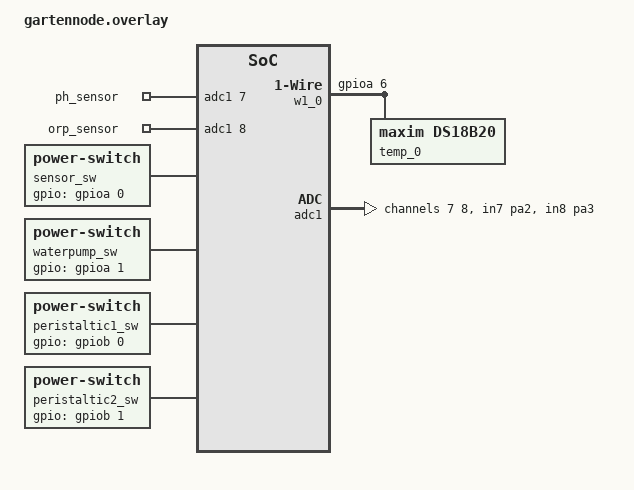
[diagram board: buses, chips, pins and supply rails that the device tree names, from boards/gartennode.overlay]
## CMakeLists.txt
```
cmake_minimum_required(VERSION 3.20.0)

list(APPEND BOARD_ROOT ${CMAKE_CURRENT_SOURCE_DIR})

macro(app_set_runner_args)
  board_runner_args(canopen "--node-id=${CONFIG_CANOPEN_NODE_ID}")
endmacro()

find_package(Zephyr REQUIRED HINTS $ENV{ZEPHYR_BASE})
project(gartennode_Poolmodul)
FILE(GLOB app_sources src/*.c)
target_sources(app PRIVATE ${app_sources} objdict/CO_OD.c)
zephyr_include_directories(objdict src)
```

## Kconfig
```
#
# Copyright (c) 2019 Vestas Wind Systems A/S
#
# SPDX-License-Identifier: Apache-2.0
#

config CANOPEN_NODE_ID
	int "CANopen node ID"
	default 10
	range 1 127
	help
	  7-bit CANopen Node ID

config APP_NATIVE_SIM_W1_EMUL
	bool "Emulate the DS18B20 W1 sensor in native_sim"
	default n
	help
	  Use a software-emulated temperature value when the native simulator does not
	  expose a real W1 bus or DS18B20 device. This keeps the application runnable
	  in host-based tests without changing the real hardware board configuration.

config APP_NATIVE_SIM_W1_EMUL_TEMP_C
	int "Emulated DS18B20 temperature in 0.1 C units"
	default 250
	range -500 1250
	help
	  Temperature value used by the native_sim W1 emulator. For example, 250 means
	  25.0 C.

source "Kconfig.zephyr"
```

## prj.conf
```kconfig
# Print a banner on the UART on startup.
CONFIG_BOOT_BANNER=y

CONFIG_LOG=y
CONFIG_LOG_BACKEND_UART=y
CONFIG_CANOPEN_LOG_LEVEL_DBG=y
CONFIG_MULTITHREADING=y
CONFIG_WDT_LOG_LEVEL_DBG=y
CONFIG_WDT_DISABLE_AT_BOOT=y
CONFIG_WATCHDOG=y
CONFIG_TASK_WDT=y
CONFIG_TASK_WDT_MIN_TIMEOUT=500
CONFIG_THREAD_NAME=y
CONFIG_HEAP_MEM_POOL_SIZE=1024

CONFIG_GPIO=y
CONFIG_ADC=y
CONFIG_W1=y
CONFIG_SENSOR=y
CONFIG_SENSOR_LOG_LEVEL_DBG=y

CONFIG_CAN=y
#CONFIG_CAN_MAX_FILTER=13

CONFIG_MAIN_STACK_SIZE=2048

CONFIG_CANOPEN=y
CONFIG_CANOPENNODE=y
CONFIG_CANOPENNODE_SYNC_THREAD=y
CONFIG_CANOPENNODE_STORAGE=y
CONFIG_CANOPENNODE_LEDS=y
CONFIG_CANOPENNODE_PROGRAM_DOWNLOAD=y
CONFIG_CANOPEN_NODE_ID=9

CONFIG_LOG_PRINTK=y
CONFIG_REBOOT=y
CONFIG_UART_CONSOLE=y
CONFIG_SERIAL=y
CONFIG_CONSOLE=y
# Enable Zephyr application to be booted by MCUboot
CONFIG_BOOTLOADER_MCUBOOT=y

# Use the default MCUBoot PEM key file (BOOT_SIGNATURE_KEY_FILE)
CONFIG_MCUBOOT_SIGNATURE_KEY_FILE="bootloader/mcuboot/gartennode.pem"
```

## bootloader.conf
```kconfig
# Print a banner on the UART on startup.
CONFIG_BOOT_BANNER=y

CONFIG_LOG=y
CONFIG_LOG_BACKEND_UART=y
CONFIG_WDT_LOG_LEVEL_DBG=y
CONFIG_WDT_DISABLE_AT_BOOT=n
CONFIG_WATCHDOG=n

CONFIG_LOG_PRINTK=y
CONFIG_REBOOT=y
CONFIG_UART_CONSOLE=y
CONFIG_SERIAL=y
CONFIG_CONSOLE=y
CONFIG_SENSOR=y
CONFIG_SENSOR_LOG_LEVEL_DBG=y
# Enable Zephyr application to be booted by MCUboot
CONFIG_BOOTLOADER_MCUBOOT=y
CONFIG_MCUBOOT_INDICATION_LED=y
CONFIG_MCUBOOT_UTIL_LOG_LEVEL_DBG=y

# Use the default MCUBoot PEM key file (BOOT_SIGNATURE_KEY_FILE)
CONFIG_BOOT_SIGNATURE_TYPE_ED25519=y
CONFIG_BOOT_SIGNATURE_KEY_FILE="gartennode.pem"
```

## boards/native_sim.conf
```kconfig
CONFIG_BOOTLOADER_MCUBOOT=n
CONFIG_CANOPENNODE_PROGRAM_DOWNLOAD=n
CONFIG_MCUBOOT_SIGNATURE_KEY_FILE=""
CONFIG_WDT_DISABLE_AT_BOOT=n
CONFIG_WATCHDOG=n
CONFIG_WDT_LOG_LEVEL_DBG=n
CONFIG_APP_NATIVE_SIM_W1_EMUL=y
CONFIG_APP_NATIVE_SIM_W1_EMUL_TEMP_C=250
CONFIG_CAN_NATIVE_UDP=y
CONFIG_CAN=y
CONFIG_CAN_LOOPBACK=y
CONFIG_SETTINGS=y
CONFIG_FLASH=y
CONFIG_FLASH_PAGE_LAYOUT=y
CONFIG_FLASH_MAP=y
CONFIG_NVS=y
CONFIG_CANOPENNODE_STORAGE=y
```

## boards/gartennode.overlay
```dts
/*
 * Copyright (c) 2022 Google LLC.
 *
 * SPDX-License-Identifier: Apache-2.0
 */

/ {
	zephyr,user {
		io-channels = <&adc1 7>, <&adc1 8>;
		io-channel-names = "ph_sensor", "orp_sensor";
	};
	sensor_sw: sensor_sw {
		compatible = "power-switch";
		gpios = <&gpioa 0 (GPIO_PULL_DOWN | GPIO_ACTIVE_HIGH)>;
		status = "okay";
	};
	waterpump_sw: waterpump_sw {
		compatible = "power-switch";
		gpios = <&gpioa 1 (GPIO_PULL_DOWN | GPIO_ACTIVE_HIGH)>;
		status = "okay";
	};

	peristaltic1_sw: peristaltic1_sw {
		compatible = "power-switch";
		/* using built-in LED pin for demonstration */
		gpios = <&gpiob 0 (GPIO_PULL_DOWN | GPIO_ACTIVE_HIGH)>;
		status = "okay";
	};
	peristaltic2_sw: peristaltic2_sw {
		compatible = "power-switch";
		gpios = <&gpiob 1 (GPIO_PULL_DOWN | GPIO_ACTIVE_HIGH)>;
		status = "okay";
	};

	w1_0: w1-zephyr-gpio-0 {
		compatible = "zephyr,w1-gpio";
		gpios = <&gpioa 6 (GPIO_ACTIVE_HIGH|GPIO_OPEN_DRAIN|GPIO_PULL_UP)>;
		status = "okay";

		temp_0: ds18b200 {
			compatible = "maxim,ds18b20";
			family-code = <0x28>;
			resolution = <12>;
			status = "okay";
		};
	};

	aliases {
		green-led = &green_led;
	};
};

&adc1 {
	#address-cells = <1>;
	#size-cells = <0>;

	/* pinctrl-0 = <&adc1_in5_pa0 &adc1_in6_pa1 &adc1_in7_pa2 &adc1_in8_pa3 &adc1_in9_pa4 &adc1_in10_pa5 &adc1_in11_pa6 &adc1_in12_pa7>; */
	pinctrl-0 = <&adc1_in7_pa2 &adc1_in8_pa3>;
	pinctrl-names = "default";
	st,adc-clock-source = "SYNC";
	st,adc-prescaler = <4>;
	status = "okay";

	channel@7 {
		reg = <7>;
		zephyr,gain = "ADC_GAIN_1";
		zephyr,reference = "ADC_REF_INTERNAL";
		zephyr,acquisition-time = <ADC_ACQ_TIME_DEFAULT>;
		zephyr,resolution = <12>;
	};

	channel@8 {
		reg = <8>;
		zephyr,gain = "ADC_GAIN_1";
		zephyr,reference = "ADC_REF_INTERNAL";
		zephyr,acquisition-time = <ADC_ACQ_TIME_DEFAULT>;
		zephyr,resolution = <12>;
	};
};
```

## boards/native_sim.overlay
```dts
/ {
	chosen {
		zephyr,canbus = &can_udp0;
	};

	zephyr,user {
		io-channels = <&adc0 0>, <&adc0 1>;
		io-channel-names = "ph_sensor", "orp_sensor";
	};

	can_udp0: udp-can {
		compatible = "zephyr,native-linux-udp-can";
		host = "127.0.0.1";
		port = <4001>;
		local-port = <4002>;
		status = "okay";
	};

	sensor_sw: sensor_sw {
		compatible = "power-switch";
		gpios = <&gpio0 0 (GPIO_PULL_DOWN | GPIO_ACTIVE_HIGH)>;
		status = "okay";
	};

	waterpump_sw: waterpump_sw {
		compatible = "power-switch";
		gpios = <&gpio0 1 (GPIO_PULL_DOWN | GPIO_ACTIVE_HIGH)>;
		status = "okay";
	};

	peristaltic1_sw: peristaltic1_sw {
		compatible = "power-switch";
		gpios = <&gpio0 2 (GPIO_PULL_DOWN | GPIO_ACTIVE_HIGH)>;
		status = "okay";
	};

	peristaltic2_sw: peristaltic2_sw {
		compatible = "power-switch";
		gpios = <&gpio0 3 (GPIO_PULL_DOWN | GPIO_ACTIVE_HIGH)>;
		status = "okay";
	};

	w1_0: w1-zephyr-gpio-0 {
		compatible = "zephyr,w1-gpio";
		gpios = <&gpio0 4 (GPIO_ACTIVE_HIGH | GPIO_OPEN_DRAIN)>;
		status = "disabled";

		temp_0: ds18b200 {
			compatible = "maxim,ds18b20";
			family-code = <0x28>;
			resolution = <12>;
			status = "disabled";
		};
	};

	aliases {
		green-led = &led0;
	};
};

&adc0 {
	#address-cells = <1>;
	#size-cells = <0>;
	status = "okay";
	ref-internal-mv = <3300>;

	channel@0 {
		reg = <0>;
		zephyr,gain = "ADC_GAIN_1";
		zephyr,reference = "ADC_REF_INTERNAL";
		zephyr,acquisition-time = <ADC_ACQ_TIME_DEFAULT>;
		zephyr,resolution = <12>;
	};

	channel@1 {
		reg = <1>;
		zephyr,gain = "ADC_GAIN_1";
		zephyr,reference = "ADC_REF_INTERNAL";
		zephyr,acquisition-time = <ADC_ACQ_TIME_DEFAULT>;
		zephyr,resolution = <12>;
	};
};
```

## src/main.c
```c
/*
 * Copyright (c) 2019 Vestas Wind Systems A/S
 *
 * SPDX-License-Identifier: Apache-2.0
 */

#include <inttypes.h>
 #include <zephyr/kernel.h>
#include <zephyr/drivers/gpio.h>
#include <zephyr/sys/reboot.h>
#include <zephyr/settings/settings.h>
#include <zephyr/drivers/sensor.h>
#include <zephyr/drivers/sensor/w1_sensor.h>
#include <zephyr/storage/flash_map.h>
#include <zephyr/sys/printk.h>
#include <canopennode.h>
#include "watchdog.h"
#include "sensor.h"
#include "orp_measurement.h"
#include "ph_measurement.h"
#include "waterpump.h"
#include "led.h"

#define LOG_LEVEL CONFIG_CANOPEN_LOG_LEVEL
#include <zephyr/logging/log.h>
LOG_MODULE_REGISTER(app);

static CO_SDO_abortCode_t odf_2102(CO_ODF_arg_t *odf_arg);
static CO_SDO_abortCode_t odf_2103(CO_ODF_arg_t *odf_arg);
static CO_SDO_abortCode_t odf_2108(CO_ODF_arg_t *odf_arg);
static CO_SDO_abortCode_t odf_2112(CO_ODF_arg_t *odf_arg);

#define STORAGE_PARTITION	storage_partition
#define STORAGE_PARTITION_ID	PARTITION_ID(STORAGE_PARTITION)

#define CAN_INTERFACE DEVICE_DT_GET(DT_CHOSEN(zephyr_canbus))
#define CAN_BITRATE (DT_PROP_OR(DT_CHOSEN(zephyr_canbus), bitrate, \
					  DT_PROP_OR(DT_CHOSEN(zephyr_canbus), bus_speed, \
						     CONFIG_CAN_DEFAULT_BITRATE)) / 1000)


/**
 * @brief Watchdog callback function
 *
 * @param channel_id Watchdog channel ID
 * @param user_data Pointer to user data (thread ID)
 */
static void main_watchdog_callback(int channel_id, void *user_data)
{
    LOG_ERR("Watchdog channel %d callback, user data: %p",
        channel_id, k_thread_name_get((k_tid_t)user_data));
	sys_reboot(SYS_REBOOT_COLD);
}

/**
 * @brief Configure LED indicators pins and callbacks.
 *
 * This routine configures the GPIOs for the red and green LEDs (if
 * available).
 *
 * @param nmt CANopenNode NMT object.
 */
static void initialize()
{
	if (led_init() != 0) {
		LOG_ERR("LED initialization failed");
	}
	if (sensor_init() != 0) {
		LOG_ERR("Sensor initialization failed");
	}
	if (waterpump_init() != 0) {
		LOG_ERR("Waterpump initialization failed");
	}
	// if (watchdog_init() != 0) {
	// 	LOG_ERR("Watchdog initialization failed");
	// }
}

/**
 * @brief Set sensor Enable
 *
 * @param odf_arg SDO argument structure.
 * @return SDO abort code.
 */
static CO_SDO_abortCode_t odf_2102(CO_ODF_arg_t *odf_arg)
{
	if (odf_arg->reading) {
		return CO_SDO_AB_NONE;
	}

	uint8_t value;

	if (odf_arg->data == NULL) {
		return CO_SDO_AB_GENERAL;
	}
	value = *odf_arg->data;
	
	int ret = sensor_enable(value);
	LOG_DBG("sensor_enable returned %d", ret);
	if (ret == 0 || ret == 1) {
		return CO_SDO_AB_NONE;
	}
	return CO_SDO_AB_GENERAL;
}

/**
 * @brief Set sensor period
 *
 * @param odf_arg SDO argument structure.
 * @return SDO abort code.
 */
static CO_SDO_abortCode_t odf_2103(CO_ODF_arg_t *odf_arg)
{
	if (odf_arg->reading) {
		return CO_SDO_AB_NONE;
	}
	if (odf_arg->data == NULL) {
		return CO_SDO_AB_GENERAL;
	}
	uint8_t value;
	value = *odf_arg->data;
	LOG_DBG("Set sensor period to %d ms", value);
	return CO_SDO_AB_NONE;
}

/**
 * @brief Set pH sample count
 *
 * This SDO allows updating the number of samples used for pH averaging.
 */
static CO_SDO_abortCode_t odf_2108(CO_ODF_arg_t *odf_arg)
{
	if (odf_arg->reading) {
		return CO_SDO_AB_NONE;
	}

	if (odf_arg->data == NULL) {
		return CO_SDO_AB_GENERAL;
	}

	uint8_t value = *odf_arg->data;

	if (value == 0) {
		LOG_ERR("Invalid pH sample count: 0");
		return CO_SDO_AB_GENERAL;
	}

	CO_LOCK_OD();
	OD_PHSamples = value;
	CO_UNLOCK_OD();

	int ret = ph_measurement_set_sample_count(value);
	LOG_DBG("ph_measurement_set_sample_count returned %d", ret);
	if (ret == 0) {
		return CO_SDO_AB_NONE;
	}
	return CO_SDO_AB_GENERAL;
}

/**
 * @brief Set orp sample count
 *
 * @param odf_arg SDO argument structure.
 * @return SDO abort code.
 */
static CO_SDO_abortCode_t odf_2112(CO_ODF_arg_t *odf_arg)
{
	if (odf_arg->reading) {
		return CO_SDO_AB_NONE;
	}

	if (odf_arg->data == NULL) {
		return CO_SDO_AB_GENERAL;
	}

	uint8_t value = *odf_arg->data;

	/* value represents the number of ORP samples to average */
	if (value == 0) {
		LOG_ERR("Invalid ORP sample count: 0");
		return CO_SDO_AB_GENERAL;
	}

	/* Update EEPROM value under OD lock */
	CO_LOCK_OD();
	OD_ORPSamples = value;
	CO_UNLOCK_OD();

	/* Ask ORP module to resize its sample buffer. This function uses
	 * an internal mutex to prevent races with measurements.
	 */
	int ret = orp_measurement_set_sample_count(value);
	LOG_DBG("orp_measurement_set_sample_count returned %d", ret);
	if (ret == 0) {
		return CO_SDO_AB_NONE;
	}
	return CO_SDO_AB_GENERAL;
}

/**
 * @brief Main application entry point.
 *
 * The main application thread is responsible for initializing the
 * CANopen stack and doing the non real-time processing.
 */
int main(void)
{
	CO_NMT_reset_cmd_t reset = CO_RESET_NOT;
	CO_ReturnError_t err;
	struct canopen_context can;
	uint16_t timeout;
	uint32_t elapsed;
	int64_t timestamp;
	int task_id = -1;
#ifdef CONFIG_CANOPENNODE_STORAGE
	int ret;
#endif /* CONFIG_CANOPENNODE_STORAGE */
	can.dev = CAN_INTERFACE;
	if (!device_is_ready(can.dev)) {
		LOG_ERR("CAN interface not ready");
		return 0;
	}

#ifdef CONFIG_CANOPENNODE_STORAGE
	LOG_INF("Initializing settings subsystem\n");
	ret = settings_subsys_init();
	if (ret) {
		LOG_ERR("failed to initialize settings subsystem (err = %d)",
			ret);
		int error = 0;
		const struct flash_area *storage = NULL;
		// Open the partition
		error = flash_area_open(PARTITION_ID(storage_partition), &storage);
		if (error < 0) {
			return error;
		}

		// Erase the first sector (e.g., 4KB)
		error = flash_area_erase(storage, 0, PARTITION_SIZE(storage_partition));
		if (error < 0) {
			return error;
		}
		sys_reboot(SYS_REBOOT_COLD);
	}

	ret = settings_load();
	if (ret) {
		LOG_ERR("failed to load settings (err = %d)", ret);
		return 0;
	}
#endif /* CONFIG_CANOPENNODE_STORAGE */

	OD_powerOnCounter++;

	//task_id = watchdog_add(2000, main_watchdog_callback, NULL);
	if (task_id < 0) {
		LOG_ERR("Failed to add watchdog channel");
	}

	while (reset != CO_RESET_APP) {
		elapsed =  0U; /* milliseconds */

		LOG_INF("CANopen stack initialize");
		err = CO_init(&can, CONFIG_CANOPEN_NODE_ID, CAN_BITRATE);
		if (err != CO_ERROR_NO) {
			LOG_ERR("CO_init failed (err = %d)", err);
			return 0;
		}
		LOG_INF("CANopen stack initialized");
		CO_NMT_setInternalState(CO->NMT, CO_NMT_OPERATIONAL);
		CO->NMT->HBproducerTimer = 0U;

#ifdef CONFIG_CANOPENNODE_STORAGE
		canopen_storage_attach(CO->SDO[0], CO->em);
#endif /* CONFIG_CANOPENNODE_STORAGE */

		initialize();
		led_configure(CO->NMT);
		CO_OD_configure(CO->SDO[0], OD_2102_sensorEnable,
				odf_2102, NULL, 0U, 0U);
		CO_OD_configure(CO->SDO[0], OD_2103_sensorPeriode,
				odf_2103, NULL, 0U, 0U);
		CO_OD_configure(CO->SDO[0], OD_2108_PHSamples,
				odf_2108, NULL, 0U, 0U);
		CO_OD_configure(CO->SDO[0], OD_2112_ORPSamples,
				odf_2112, NULL, 0U, 0U);

		if (IS_ENABLED(CONFIG_CANOPENNODE_PROGRAM_DOWNLOAD)) {
			canopen_program_download_attach(CO->NMT, CO->SDO[0],
							CO->em);
		}

		sensor_enable(OD_sensorEnable);

		CO_CANsetNormalMode(CO->CANmodule[0]);
		struct sCO_OD_EEPROM eeprom_old = CO_OD_EEPROM;

		while (true) {
			timeout = 1U; /* default timeout in milliseconds */
			timestamp = k_uptime_get();
			reset = CO_process(CO, (uint16_t)elapsed, &timeout);

			if (reset != CO_RESET_NOT) {
				break;
			}

			if (timeout > 0) {
				sensor_process();
				waterpump_process();
#ifdef CONFIG_CANOPENNODE_STORAGE
				ret = memcmp(&eeprom_old, &CO_OD_EEPROM, sizeof(CO_OD_EEPROM));
				if (ret != 0) {
					LOG_DBG("EEPROM changed, saving to flash");
					memcpy(&eeprom_old, &CO_OD_EEPROM, sizeof(CO_OD_EEPROM));
					ret = canopen_storage_save(
						CANOPEN_STORAGE_EEPROM);
					if (ret) {
						LOG_ERR("failed to save EEPROM");
					}
				}

#endif /* CONFIG_CANOPENNODE_STORAGE */
				if (task_id >= 0) {
					int ret = watchdog_feed(task_id);
					if (ret != 0) {
						LOG_ERR("Failed to feed watchdog channel %d: %d", task_id, ret);
					}
				}
				/*
				 * Try to sleep for as long as the
				 * stack requested and calculate the
				 * exact time elapsed.
				 */
				k_sleep(K_MSEC(timeout));
				elapsed = (uint32_t)k_uptime_delta(&timestamp);
			} else {
				/*
				 * Do not sleep, more processing to be
				 * done by the stack.
				 */
				elapsed = 0U;
			}
		}

		sensor_enable(false);

		if (reset == CO_RESET_COMM) {
			LOG_INF("Resetting communication");
		}
	}
	if (task_id >= 0) {
		int ret = watchdog_delete(task_id);
		if (ret != 0) {
			LOG_ERR("Failed to delete watchdog channel %d: %d", task_id, ret);
		}
	}

	LOG_INF("Resetting device");

	CO_delete(&can);
	sys_reboot(SYS_REBOOT_COLD);
}
```

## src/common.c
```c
#include "common.h"
#include <stdio.h>

double averagearray(uint16_t* arr, int number){
  int i;
  int max,min;
  double avg;
  long amount=0;
  if(number<=0){
    printf("Error number for the array to avraging!\n");
    return 0;
  }
  if(number<5){   //less than 5, calculated directly statistics
    for(i=0;i<number;i++){
      amount+=arr[i];
    }
    avg = amount/number;
    return avg;
  }else{
    if(arr[0]<arr[1]){
      min = arr[0];max=arr[1];
    }
    else{
      min=arr[1];max=arr[0];
    }
    for(i=2;i<number;i++){
      if(arr[i]<min){
        amount+=min;        //arr<min
        min=arr[i];
      }else {
        if(arr[i]>max){
          amount+=max;    //arr>max
          max=arr[i];
        }else{
          amount+=arr[i]; //min<=arr<=max
        }
      }//if
    }//for
    avg = (double)amount/(number-2);
  }//if
  return avg;
}
```

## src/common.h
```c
#ifndef _COMMON_H
#define _COMMON_H

#include <zephyr/kernel.h>
#include <canopennode.h>

double averagearray(uint16_t* arr, int number);

#endif /* _COMMON_H */
```

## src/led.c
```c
#include <zephyr/kernel.h>
#include <zephyr/drivers/gpio.h>
#include <zephyr/logging/log.h>
#include "led.h"

LOG_MODULE_REGISTER(led);

static void led_callback(bool value, void *arg);

static struct gpio_dt_spec led_green_gpio = GPIO_DT_SPEC_GET_OR(
		DT_ALIAS(green_led), gpios, {0});
static struct gpio_dt_spec led_red_gpio = GPIO_DT_SPEC_GET_OR(
		DT_ALIAS(red_led), gpios, {0});

/**
 * @brief Initialize LED indicators pins.
 *
 * This routine configures the GPIOs for the red and green LEDs (if
 * available).
 *
 * @return 0 on success, negative error code on failure.
 */
int led_init(void)
{
    int err;

    if (!led_green_gpio.port) {
        LOG_DBG("Green LED not available");
    } else if (!gpio_is_ready_dt(&led_green_gpio)) {
        LOG_ERR("Green LED device not ready");
        led_green_gpio.port = NULL;
    } else {
        err = gpio_pin_configure_dt(&led_green_gpio,
                        GPIO_OUTPUT_INACTIVE);
        if (err) {
            LOG_ERR("failed to configure Green LED gpio: %d", err);
            led_green_gpio.port = NULL;
        }
    }

    if (!led_red_gpio.port) {
        LOG_DBG("Red LED not available");
    } else if (!gpio_is_ready_dt(&led_red_gpio)) {
        LOG_ERR("Red LED device not ready");
        led_red_gpio.port = NULL;
    } else {
        err = gpio_pin_configure_dt(&led_red_gpio,
                        GPIO_OUTPUT_INACTIVE);
        if (err) {
            LOG_ERR("failed to configure Red LED gpio: %d", err);
            led_red_gpio.port = NULL;
        }
    }

    return 0;
}

/**
 * @brief Callback for setting LED indicator state.
 *
 * @param value true if the LED indicator shall be turned on, false otherwise.
 * @param arg argument that was passed when LEDs were initialized.
 */
static void led_callback(bool value, void *arg)
{
	struct gpio_dt_spec *led_gpio = arg;

	if (!led_gpio || !led_gpio->port) {
		return;
	}

	gpio_pin_set_dt(led_gpio, value);
}

void led_configure(CO_NMT_t *nmt) {
    canopen_leds_init(nmt,
              led_callback, &led_green_gpio,
              led_callback, &led_red_gpio);
}
```

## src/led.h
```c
#ifndef _LED_H
#define _LED_H

#include <zephyr/kernel.h>
#include <zephyr/drivers/gpio.h>
#include <canopennode.h>

int led_init(void);
void led_configure(CO_NMT_t *nmt);

#endif /* _LED_H */
```

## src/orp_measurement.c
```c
#include "orp_measurement.h"

#include <zephyr/kernel.h>
#include <zephyr/logging/log.h>
#include <zephyr/sys/util.h>
#include "common.h"
#include "canopennode.h"

LOG_MODULE_REGISTER(orp_measurement, CONFIG_CANOPEN_LOG_LEVEL);

#if defined(CONFIG_ADC)
#include <zephyr/drivers/adc.h>
static const struct adc_dt_spec orp_sensor = ADC_DT_SPEC_GET_BY_NAME(DT_PATH(zephyr_user), orp_sensor);
static uint16_t *orp_sample_buffer;
static size_t orp_sample_count;
static struct k_mutex orp_mutex;
#endif

#define ORP_MEASUREMENT_MV_REF 3300U

#if defined(CONFIG_ADC)

uint16_t *orp_measurement_alloc_samples(void)
{
    orp_sample_count = (size_t)OD_ORPSamples;
    if (orp_sample_count == 0) {
        LOG_WRN("OD_ORPSamples is zero, allocating one sample buffer.");
        orp_sample_count = 1;
    }

    uint16_t *samples = k_calloc(orp_sample_count, sizeof(uint16_t));
    if (samples == NULL) {
        LOG_ERR("Could not allocate ORP sample array (%zu entries)", orp_sample_count);
    }
    return samples;
}

void orp_measurement_free_samples(uint16_t *samples)
{
    if (samples != NULL) {
        k_free(samples);
    }
}

int orp_measurement_set_sample_count(uint8_t count)
{
    if (count == 0) {
        return -EINVAL;
    }

    uint16_t *new_samples = k_calloc((size_t)count, sizeof(uint16_t));
    if (new_samples == NULL) {
        LOG_ERR("Could not allocate ORP sample array (%u entries)", count);
        return -ENOMEM;
    }

    k_mutex_lock(&orp_mutex, K_FOREVER);
    uint16_t *old = orp_sample_buffer;
    orp_sample_buffer = new_samples;
    orp_sample_count = (size_t)count;
    k_mutex_unlock(&orp_mutex);

    if (old != NULL) {
        k_free(old);
    }
    return 0;
}

int orp_measurement_init(void)
{
    int err;

    if (!adc_is_ready_dt(&orp_sensor)) {
        LOG_ERR("The orp_sensor ADC device is not ready.");
        return -ENODEV;
    }

    err = adc_channel_setup_dt(&orp_sensor);
    if (err != 0) {
        LOG_ERR("ORP sensor ADC channel setup failed: %d", err);
        return err;
    }

    orp_sample_buffer = orp_measurement_alloc_samples();
    if (orp_sample_buffer == NULL) {
        return -ENOMEM;
    }

    k_mutex_init(&orp_mutex);
    return 0;
}

int orp_measurement_read()
{
    int err;

    if (orp_sample_buffer == NULL) {
        LOG_ERR("ORP sample buffer is not allocated.");
        return -ENOMEM;
    }

    struct adc_sequence sequence = {
        .channels = BIT(orp_sensor.channel_id),
        .buffer = orp_sample_buffer,
        .buffer_size = orp_sample_count * sizeof(uint16_t),
        .resolution = orp_sensor.resolution,
    };

    /* lock buffer while performing ADC read and processing */
    k_mutex_lock(&orp_mutex, K_FOREVER);
    err = adc_read(orp_sensor.dev, &sequence);
    if (err != 0) {
        LOG_ERR("ORP sensor ADC read failed: %d", err);
        k_mutex_unlock(&orp_mutex);
        return err;
    }

    uint32_t raw = averagearray(orp_sample_buffer, orp_sample_count);
    k_mutex_unlock(&orp_mutex);
    float orp = ((30*(double)ORP_MEASUREMENT_MV_REF)-(75*raw*ORP_MEASUREMENT_MV_REF/1024))/75-OD_ORPOffset;

    if (orp < -1000.0f) {
        orp = -1000.0f;
    } else if (orp > 1000.0f) {
        orp = 1000.0f;
    }

    CO_LOCK_OD();
    OD_ORPMeasurement = (float)orp;
    CO_UNLOCK_OD();

    LOG_DBG("ORP measurement raw=%u ORP=%.2fmV", raw, (double)orp);
    return 0;
}

#else

uint16_t *orp_measurement_alloc_samples(void)
{
    return NULL;
}

void orp_measurement_free_samples(uint16_t *samples)
{
    ARG_UNUSED(samples);
}

int orp_measurement_init(void)
{
    LOG_WRN("ORP measurement disabled: ADC support is not enabled.");
    return -ENOTSUP;
}

int orp_measurement_read()
{
    return -ENOTSUP;
}

#endif

float orp_measurement_last_value(void)
{
    return OD_ORPMeasurement;
}
```

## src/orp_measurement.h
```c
#ifndef _ORP_MEASUREMENT_H
#define _ORP_MEASUREMENT_H

#include <zephyr/kernel.h>

// #if defined(CONFIG_ADC)
// #if !DT_NODE_EXISTS(DT_NODELABEL(orp_sensor))
// #error "Overlay for orp_sensor ADC node not properly defined."
// #endif
// #endif

int orp_measurement_init(void);
int orp_measurement_read();
uint16_t *orp_measurement_alloc_samples(void);
void orp_measurement_free_samples(uint16_t *samples);
int orp_measurement_set_sample_count(uint8_t count);
float orp_measurement_last_value(void);

#endif /* _ORP_MEASUREMENT_H */
```

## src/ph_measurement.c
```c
#include "ph_measurement.h"

#include <zephyr/kernel.h>
#include <zephyr/logging/log.h>
#include <zephyr/sys/util.h>
#include "canopennode.h"
#include "common.h"

LOG_MODULE_REGISTER(ph_measurement, CONFIG_CANOPEN_LOG_LEVEL);

#if defined(CONFIG_ADC)
#include <zephyr/drivers/adc.h>
static const struct adc_dt_spec ph_sensor = ADC_DT_SPEC_GET_BY_NAME(DT_PATH(zephyr_user), ph_sensor);
static uint16_t *ph_sample_buffer;
static size_t ph_sample_count;
static struct k_mutex ph_mutex;
#endif

#define PH_MEASUREMENT_MV_REF 3300U
#define PH_MEASUREMENT_MV_NEUTRAL 1650U

#if defined(CONFIG_ADC)

uint16_t *ph_measurement_alloc_samples(void)
{
    ph_sample_count = (size_t)OD_PHSamples;
    if (ph_sample_count == 0) {
        LOG_WRN("OD_PHSamples is zero, allocating one sample buffer.");
        ph_sample_count = 1;
    }

    uint16_t *samples = k_calloc(ph_sample_count, sizeof(uint16_t));
    if (samples == NULL) {
        LOG_ERR("Could not allocate pH sample array (%zu entries)", ph_sample_count);
    }
    return samples;
}

void ph_measurement_free_samples(uint16_t *samples)
{
    if (samples != NULL) {
        k_free(samples);
    }
}

int ph_measurement_init(void)
{
    int err;

    if (!adc_is_ready_dt(&ph_sensor)) {
        LOG_ERR("The ph_sensor ADC device is not ready.");
        return -ENODEV;
    }

    err = adc_channel_setup_dt(&ph_sensor);
    if (err != 0) {
        LOG_ERR("pH sensor ADC channel setup failed: %d", err);
        return err;
    }

    ph_sample_buffer = ph_measurement_alloc_samples();
    if (ph_sample_buffer == NULL) {
        return -ENOMEM;
    }
    k_mutex_init(&ph_mutex);
    return 0;
}

int ph_measurement_read(void)
{
    int err;

    if (ph_sample_buffer == NULL) {
        LOG_ERR("pH sample buffer is not allocated.");
        return -ENOMEM;
    }

    struct adc_sequence sequence = {
        .channels = BIT(ph_sensor.channel_id),
        .buffer = ph_sample_buffer,
        .buffer_size = ph_sample_count * sizeof(uint16_t),
        .resolution = ph_sensor.resolution,
    };

    /* lock buffer while reading and processing */
    k_mutex_lock(&ph_mutex, K_FOREVER);
    err = adc_read(ph_sensor.dev, &sequence);
    if (err != 0) {
        LOG_ERR("pH sensor ADC read failed: %d", err);
        k_mutex_unlock(&ph_mutex);
        return err;
    }

    /* Calculate average of samples */
    double avg_raw = averagearray(ph_sample_buffer, (int)ph_sample_count);
    k_mutex_unlock(&ph_mutex);
    float ph = (float)(OD_PHKalibPoints[0]/10) + ((float)(avg_raw - OD_PHKalibValues[0]) * ((float)(OD_PHKalibPoints[1]/10) / (float)(OD_PHKalibValues[1])));

    if (ph < 0.0f) {
        ph = 0.0f;
    } else if (ph > 14.0f) {
        ph = 14.0f;
    }

    CO_LOCK_OD();
    OD_PHRaw = (uint16_t)avg_raw; // Store raw average in OD for monitoring
    OD_PHMeasurement = (float32_t)ph; // Store pH value multiplied by 100 for two decimal places in OD
    CO_UNLOCK_OD();

    LOG_DBG("pH measurement avg_raw=%.1f pH=%.2f", avg_raw, (double)ph);
    return 0;
}

int ph_measurement_set_sample_count(uint8_t count)
{
    if (count == 0) {
        return -EINVAL;
    }

    uint16_t *new_samples = k_calloc((size_t)count, sizeof(uint16_t));
    if (new_samples == NULL) {
        LOG_ERR("Could not allocate pH sample array (%u entries)", count);
        return -ENOMEM;
    }

    k_mutex_lock(&ph_mutex, K_FOREVER);
    uint16_t *old = ph_sample_buffer;
    ph_sample_buffer = new_samples;
    ph_sample_count = (size_t)count;
    k_mutex_unlock(&ph_mutex);

    if (old != NULL) {
        k_free(old);
    }
    return 0;
}

#else

uint16_t *ph_measurement_alloc_samples(void)
{
    return NULL;
}

void ph_measurement_free_samples(uint16_t *samples)
{
    ARG_UNUSED(samples);
}

int ph_measurement_init(void)
{
    LOG_WRN("pH measurement disabled: ADC support is not enabled.");
    return -ENOTSUP;
}

int ph_measurement_read(void)
{
    return -ENOTSUP;
}

#endif

float ph_measurement_last_value(void)
{
    return (float)OD_PHMeasurement;
}
```

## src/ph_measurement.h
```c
#ifndef _PH_MEASUREMENT_H
#define _PH_MEASUREMENT_H

#include <zephyr/kernel.h>

// #if defined(CONFIG_ADC)
// #if !DT_NODE_EXISTS(DT_NODELABEL(ph_sensor))
// #error "Overlay for ph_sensor ADC node not properly defined."
// #endif
// #endif

int ph_measurement_init(void);
int ph_measurement_read(void);
uint16_t *ph_measurement_alloc_samples(void);
void ph_measurement_free_samples(uint16_t *samples);
int ph_measurement_set_sample_count(uint8_t count);
float ph_measurement_last_value(void);

#endif /* _PH_MEASUREMENT_H */
```

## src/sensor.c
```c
#include <zephyr/kernel.h>
#include <zephyr/logging/log.h>
#include <zephyr/drivers/gpio.h>
#include <canopennode.h>
#include "sensor.h"
#include "ph_measurement.h"
#include "orp_measurement.h"
#include "temperature_measurement.h"

#define SENSOR_STACK 2048

LOG_MODULE_REGISTER(sensor, CONFIG_CANOPEN_LOG_LEVEL);
K_THREAD_STACK_DEFINE(sensor_stack_area, SENSOR_STACK);

static bool sensor_loop = false;
static _thread_t sensor_thread;
static k_tid_t sensor_tid;

/* GPIO used to switch power to external sensors (MOSFET gate) */
static struct gpio_dt_spec sensor_sw = GPIO_DT_SPEC_GET_OR(DT_NODELABEL(sensor_sw), gpios, {0});

/**
 * @brief Initialize sensor measurements (pH, ORP, temperature)
 */
int sensor_init(void)
{
	int err;

	err = ph_measurement_init();
	if (err != 0) {
		LOG_WRN("pH measurement initialization: %d", err);
	}

	err = orp_measurement_init();
	if (err != 0) {
		LOG_WRN("ORP measurement initialization: %d", err);
	}

	/* Configure the sensor power GPIO if available */
	if (gpio_is_ready_dt(&sensor_sw)) {
		err = gpio_pin_configure_dt(&sensor_sw, GPIO_OUTPUT_INACTIVE);
		if (err != 0) {
			LOG_WRN("Configuring sensor power GPIO failed: %d", err);
		}
	} else {
		LOG_DBG("Sensor power GPIO not ready or not defined in DT");
	}

	return 0;
}

/**
 * @brief Enable or disable sensor thread
 *
 * @param value true to enable, false to disable
 * @return 0 on success, -1 on error, 1 if already started
 */
int sensor_enable(bool value)
{
	if (value) {
		LOG_DBG("sensor_enable called with value: %d", value);
		if (OD_sensorEnable == 1) {
			return 1;
		}
		/* Power sensors via MOSFET */
		if (gpio_is_ready_dt(&sensor_sw)) {
			int _err = gpio_pin_set_dt(&sensor_sw, 1);
			if (_err != 0) {
				LOG_WRN("Failed to set sensor power GPIO: %d", _err);
			}
		}

		sensor_loop = true;
		sensor_tid = k_thread_create(&sensor_thread, sensor_stack_area,
								 K_THREAD_STACK_SIZEOF(sensor_stack_area),
								 sensor_func,
								 NULL, NULL, NULL,
								 K_LOWEST_APPLICATION_THREAD_PRIO, 0, K_NO_WAIT);
	} else {
		LOG_DBG("sensor_enable called with value: %d", value);
		sensor_loop = false;
		/* Switch off sensor power */
		if (gpio_is_ready_dt(&sensor_sw)) {
			int _err = gpio_pin_set_dt(&sensor_sw, 0);
			if (_err != 0) {
				LOG_WRN("Failed to clear sensor power GPIO: %d", _err);
			}
		}
	}
	return 0;
}

/**
 * @brief Sensor thread function - reads pH, ORP, and temperature sensors
 *
 * @param d0 Unused
 * @param d1 Unused
 * @param d2 Unused
 */
void sensor_func(void *d0, void *d1, void *d2) {

	int temperr;
	(void)d0;
	(void)d1;
	(void)d2;

	LOG_DBG("start sensor thread");
	CO_LOCK_OD();
	OD_sensorEnable = 1;
	CO_UNLOCK_OD();
	LOG_DBG("Sensor Period: %d ms", OD_sensorPeriode);
	LOG_DBG("start loop");

	temperr = temperature_measurement_init();
	if (temperr != 0) {
		LOG_WRN("Temperature measurement initialization: %d", temperr);
	}

	while(sensor_loop) {
		float ph_value = 0.0f;
		float orp_value = 0.0f;
		float temperature_value = 0.0f;

		if (ph_measurement_read() == 0) {
			ph_value = ph_measurement_last_value();
			LOG_INF("pH: %.2f", (double)ph_value);
		}

		if (orp_measurement_read() == 0) {
			orp_value = orp_measurement_last_value();
			LOG_INF("ORP: %.2f mV", (double)orp_value);
		}

		if (temperr == 0 && temperature_measurement_read() == 0) {
			temperature_value = temperature_measurement_last_value();
			LOG_INF("Temperature: %.2f°C", (double)temperature_value);
		}

		k_sleep(K_MSEC(OD_sensorPeriode));
	}

	LOG_DBG("stop sensor thread");
	CO_LOCK_OD();
	OD_sensorEnable = 0;
	CO_UNLOCK_OD();
	/* Ensure sensors are powered down when thread stops */
	if (gpio_is_ready_dt(&sensor_sw)) {
		int _err = gpio_pin_set_dt(&sensor_sw, 0);
		if (_err != 0) {
			LOG_WRN("Failed to clear sensor power GPIO on stop: %d", _err);
		}
	}
}

/**
 *  @brief process sensor updates
 */
int sensor_process(void) {
	return 0;
}
```

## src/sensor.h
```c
#ifndef _SENSOR_H
#define _SENSOR_H

#include <zephyr/kernel.h>

#if !DT_NODE_EXISTS(DT_NODELABEL(sensor_sw))
#error "Overlay for sensor_sw output node not properly defined."
#endif

void renew_sensor_mapping(void);
void sensor_mapping_update(void);
int sensor_init(void);
void sensor_func(void *d0, void *d1, void *d2);
int sensor_enable(bool value);
bool sensor_enabled(void);
int sensor_process(void);

#endif /* _SENSOR_H */
```

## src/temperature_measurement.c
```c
#include "temperature_measurement.h"

#include <zephyr/logging/log.h>
#include <zephyr/sys/util.h>
#include <zephyr/drivers/sensor.h>
#include <zephyr/drivers/sensor/w1_sensor.h>
#include "canopennode.h"

LOG_MODULE_REGISTER(temperature_measurement, CONFIG_CANOPEN_LOG_LEVEL);

#if defined(CONFIG_SENSOR)
#include <zephyr/drivers/sensor.h>
#if DT_NODE_HAS_STATUS(DT_NODELABEL(temp_0), okay)
static const struct device *temp_sensor_dev = DEVICE_DT_GET(DT_NODELABEL(temp_0));
#else
static const struct device *temp_sensor_dev = NULL;
#endif

#if defined(CONFIG_APP_NATIVE_SIM_W1_EMUL)
static bool native_sim_temp_emulator_active;
static float native_sim_temp_emulator_value_c;
#endif
#endif

#if defined(CONFIG_SENSOR)

void w1_search_callback(struct w1_rom rom, void *user_data)
{
    uint64_t rom_id = w1_rom_to_uint64(&rom);
    LOG_INF("Device found; family: 0x%02x, serial: 0x%016llx", rom.family, rom_id);
    if (rom.family == 0x28) { // DS18B20 family code
        CO_LOCK_OD();
        OD_temperatureDS18B20ID = rom_id;
        CO_UNLOCK_OD();
    } else {
        LOG_WRN("Non-DS18B20 device found on bus, ignoring.");
    }
}

void temperature_search_sensor(void)
{
    const struct device *w1_dev = device_get_binding(DEVICE_DT_NAME(DT_NODELABEL(w1_0)));
	if (!device_is_ready(w1_dev)) {
		LOG_ERR("Device not ready");
		return;
	}
	int num_devices = w1_search_rom(w1_dev, w1_search_callback, NULL);
	LOG_INF("Number of devices found on bus: %d", num_devices);
}

int temperature_measurement_init(void)
{
    struct w1_rom w1rom;
    struct sensor_value value;

#if defined(CONFIG_APP_NATIVE_SIM_W1_EMUL)
    native_sim_temp_emulator_active = true;
    native_sim_temp_emulator_value_c = (float)CONFIG_APP_NATIVE_SIM_W1_EMUL_TEMP_C / 10.0f;
    LOG_INF("Using native_sim W1 emulator, emulated temperature %.1f C",
            (double)native_sim_temp_emulator_value_c);
    return 0;
#endif

    if (temp_sensor_dev == NULL) {
        LOG_ERR("The temp_sensor device is not defined.");
        return -ENODEV;
    }

    if (!device_is_ready(temp_sensor_dev)) {
        LOG_ERR("The temperature sensor device is not ready.");
        return -ENODEV;
    }

    LOG_INF("Temperature sensor (DS18B20) initialized successfully.");

    int i = 0;
    while (OD_temperatureDS18B20ID == 0 && i < 3) {
        LOG_INF("Searching for DS18B20 sensor, attempt %d...", i + 1);
        temperature_search_sensor();
        if (OD_temperatureDS18B20ID != 0) {
            break;
        }
        k_sleep(K_SECONDS(1));
        i++;
    }

    if (OD_temperatureDS18B20ID == 0) {
        LOG_ERR("No DS18B20 ID stored in OD after search attempts.");
        return -ENODEV;
    }

    w1_uint64_to_rom(OD_temperatureDS18B20ID, &w1rom);
    w1_rom_to_sensor_value(&w1rom, &value);
    sensor_attr_set(temp_sensor_dev, SENSOR_CHAN_ALL, SENSOR_ATTR_W1_ROM, &value);
    return 0;
}

int temperature_measurement_read(void)
{
    int err;
    struct sensor_value temp_value;

#if defined(CONFIG_APP_NATIVE_SIM_W1_EMUL)
    if (native_sim_temp_emulator_active) {
        float temperature = native_sim_temp_emulator_value_c;

        if (temperature < -50.0f) {
            temperature = -50.0f;
        } else if (temperature > 125.0f) {
            temperature = 125.0f;
        }

        CO_LOCK_OD();
        OD_temperatureRaw = (int16_t)(temperature * 1000);
        OD_temperatureMeasurement = temperature;
        CO_UNLOCK_OD();

        LOG_DBG("Temperature measurement (native_sim emulator): %.2f°C",
                (double)temperature);
        return 0;
    }
#endif

    if (temp_sensor_dev == NULL || !device_is_ready(temp_sensor_dev)) {
        LOG_ERR("Temperature sensor device not ready.");
        return -ENODEV;
    }

    err = sensor_sample_fetch(temp_sensor_dev);
    if (err != 0) {
        LOG_ERR("Failed to fetch temperature sample: %d", err);
        return err;
    }

    err = sensor_channel_get(temp_sensor_dev, SENSOR_CHAN_AMBIENT_TEMP, &temp_value);
    if (err != 0) {
        LOG_ERR("Failed to get temperature value: %d", err);
        return err;
    }

    float temperature = (float)temp_value.val1 + (float)temp_value.val2 / 1000000.0f;

    if (temperature < -50.0f) {
        temperature = -50.0f;
    } else if (temperature > 125.0f) {
        temperature = 125.0f;
    }

    CO_LOCK_OD();
    OD_temperatureRaw = (int16_t)(temperature * 1000); // Store temperature multiplied by 1000 for three decimal places in OD
    OD_temperatureMeasurement = temperature; // Store actual float value in OD for monitoring
    CO_UNLOCK_OD();

    LOG_DBG("Temperature measurement: %.2f°C (raw: val1=%d val2=%d)",
            (double)temperature, temp_value.val1, temp_value.val2);
    return 0;
}

#else

int temperature_measurement_init(void)
{
    LOG_WRN("Temperature measurement disabled: SENSOR support is not enabled.");
    return -ENOTSUP;
}

int temperature_measurement_read(void)
{
    return -ENOTSUP;
}

#endif

float temperature_measurement_last_value(void)
{
    return OD_temperatureMeasurement;
}
```

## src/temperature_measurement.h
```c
#ifndef _TEMPERATURE_MEASUREMENT_H
#define _TEMPERATURE_MEASUREMENT_H

#include <zephyr/kernel.h>

#if defined(CONFIG_SENSOR)
#if !DT_NODE_EXISTS(DT_NODELABEL(temp_0))
#error "Overlay for temp_0 (DS18B20) node not properly defined."
#endif
#endif

int temperature_measurement_init(void);
int temperature_measurement_read(void);
float temperature_measurement_last_value(void);

#endif /* _TEMPERATURE_MEASUREMENT_H */
```
